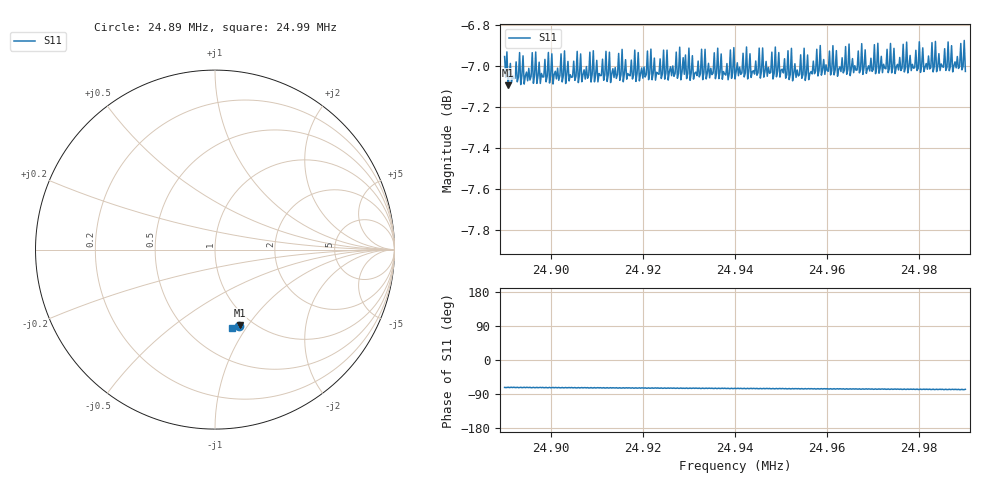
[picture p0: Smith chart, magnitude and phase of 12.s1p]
# Hz S RI R 50
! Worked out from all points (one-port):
!   401 points, 24.89 MHz to 24.99 MHz, reference 50 ohm
!   lowest |S11| = -7.1 dB at 24.8908 MHz (marker M1), VSWR 2.58, Z = 43.7 - j45.6 ohm
!   |S11| at or under -10 dB: nowhere
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2.489e7  0.1358 -0.428
2.489075e7  0.1377 -0.4198
2.489475e7  0.1359 -0.4239
2.489625e7  0.1355 -0.421
2.48975e7  0.1337 -0.4272
2.489975e7  0.1342 -0.4215
2.4901e7  0.1334 -0.4249
2.49025e7  0.1331 -0.4222
2.490375e7  0.1313 -0.4281
2.490875e7  0.1306 -0.4229
2.49135e7  0.1284 -0.4271
2.4915e7  0.128 -0.4242
2.491975e7  0.1256 -0.4281
2.492125e7  0.1256 -0.4251
2.49225e7  0.1235 -0.4313
2.49275e7  0.1232 -0.4261
2.49315e7  0.1218 -0.4281
2.4933e7  0.1209 -0.4264
2.493425e7  0.1193 -0.4311
2.493575e7  0.1197 -0.427
2.493775e7  0.1188 -0.4285
2.494e7  0.1179 -0.4275
2.49525e7  0.1125 -0.4284
2.4965e7  0.1078 -0.431
2.49775e7  0.1025 -0.4329
2.498775e7  0.0981 -0.4368
2.498925e7  0.0978 -0.4348
2.499e7  0.0971 -0.4346
